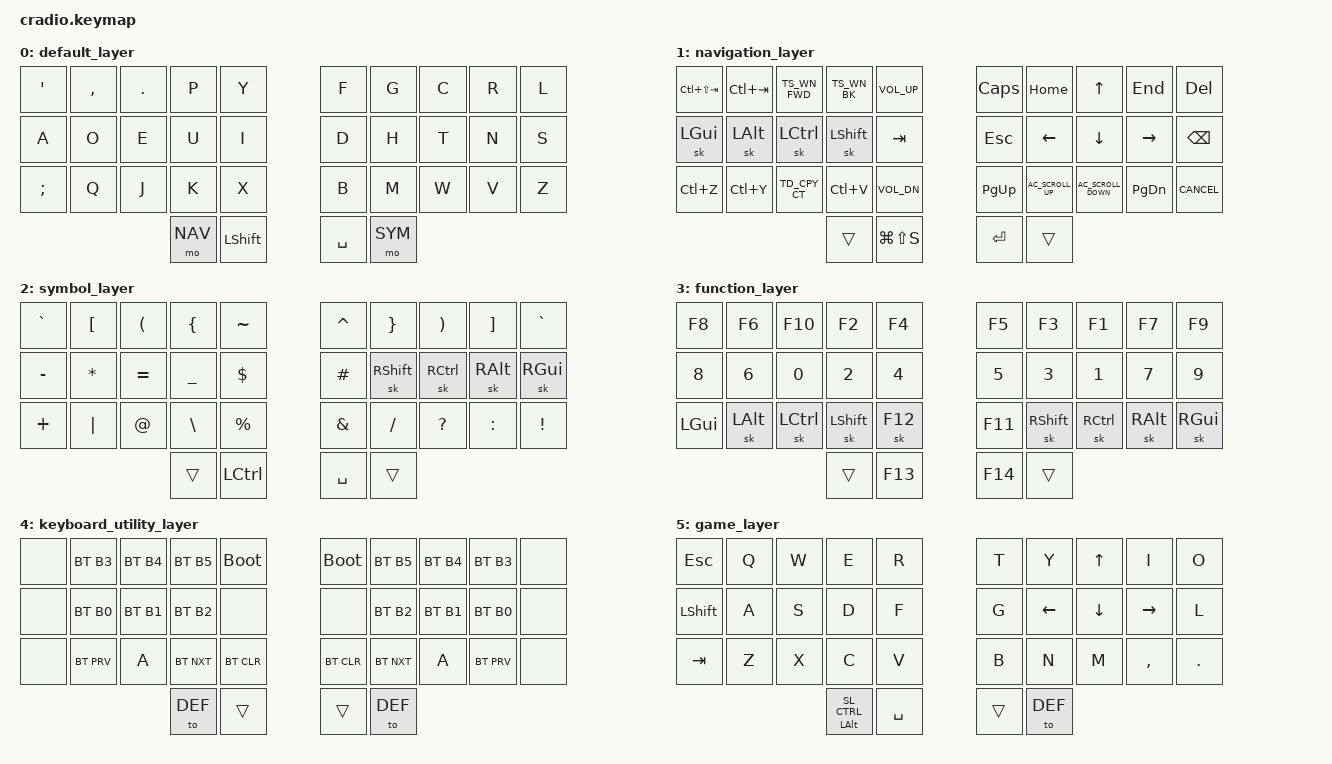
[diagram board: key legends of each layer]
#include "layers.dtsi"
#include <behaviors.dtsi>
#include <dt-bindings/zmk/keys.h>
#include <dt-bindings/zmk/bt.h>

#define VL_UP C_VOL_UP
#define VL_DN C_VOL_DN

#define WN_BK LS(TAB)

#define TAB_FWD LC(TAB)
#define TAB_BK LC(LS(TAB))

#define WN_SNIP LG(LS(S))

#define SL_UP C_AC_SCROLL_UP
#define SL_DN C_AC_SCROLL_DOWN

#define B0 BT_SEL 0
#define B1 BT_SEL 1
#define B2 BT_SEL 2
#define B3 BT_SEL 3
#define B4 BT_SEL 4
#define B5 BT_SEL 5

&sk {
    ignore-modifiers;
};

&mt {
    tapping-term-ms = <50>;
};

/ {

    behaviors {
        TD_LDR: tap_dance_bootloader {
            compatible = "zmk,behavior-tap-dance";
            label = "TAP_DANCE_BOOTLOADER";
            #binding-cells = <0>;
            bindings = <&none>, <&none>, <&bootloader>;
        };

        TD_CPY_CT: tap_dance_copy_cut {
            compatible = "zmk,behavior-tap-dance";
            label = "TAP_DANCE_COPY_CUT";
            #binding-cells = <0>;
            bindings = <&kp LC(C)>, <&kp LC(X)>;
        };

        TS_WN_FWD: tri_state_swap_window_forward {
            compatible = "zmk,behavior-tri-state";
            label = "SWAPPER";
            #binding-cells = <0>;
            bindings = <&kt LALT>, <&kp LSHFT>, <&kp TAB>, <&kt LALT>;
            ignored-key-positions = <3 13>;
        };

        TS_WN_BK: tri_state_swap_window_backward {
            compatible = "zmk,behavior-tri-state";
            label = "SWAPPER";
            #binding-cells = <0>;
            bindings = <&kt LALT>, <&kp TAB>, <&kt LALT>;
            ignored-key-positions = <2 13>;
        };

        HT_CTRL_KP: hold_tap_control_key_press {
            compatible = "zmk,behavior-hold-tap";
            label = "HOLD_TAP_CONTROL_KEY_PRESS";
            flavor = "hold-preferred";
            tapping-term-ms = <200>;
            #binding-cells = <2>;
            bindings = <&kp>, <&SL_CTRL>;
        };
    };

    conditional_layers {
        compatible = "zmk,conditional-layers";
        tri_function_layer {
            if-layers = <NAV SYM>;
            then-layer = <FNC>;
        };
    };

    combos {
        #include "combos.dtsi"
    };

    macros {
        SL_CTRL: macro_sleep_control {
            label = "Slow tap control macro";
            compatible = "zmk,behavior-macro";
            #binding-cells = <0>;
            tap-ms = <150>;
            bindings = <&kp LCTRL>;
        };
    };

    keymap {
        compatible = "zmk,keymap";

        default_layer {
        bindings = <
            &kp QUOT &kp COMMA &kp DOT &kp P &kp Y   &kp F &kp G &kp C &kp R &kp L
            &kp A    &kp O     &kp E   &kp U &kp I   &kp D &kp H &kp T &kp N &kp S
            &kp SEMI &kp Q     &kp J   &kp K &kp X   &kp B &kp M &kp W &kp V &kp Z
                                 &mo NAV &kp LSHFT   &kp SPC &mo SYM
        >;
        };

        #include "alternate_alpha_layers.dtsi"

        navigation_layer {
        bindings = <
            &kp TAB_BK &kp TAB_FWD &TS_WN_FWD &TS_WN_BK &kp VL_UP   &kp CAPS  &kp HOME  &kp UP    &kp END   &kp DEL
            &sk LGUI   &sk LALT    &sk LCTRL  &sk LSHFT &kp TAB     &kp ESC   &kp LEFT  &kp DOWN  &kp RIGHT &kp BSPC
            &kp LC(Z)  &kp LC(Y)   &TD_CPY_CT &kp LC(V) &kp VL_DN   &kp PG_UP &kp SL_UP &kp SL_DN &kp PG_DN &kp K_CANCEL
                                               &trans &kp WN_SNIP   &kp ENTER &trans
        >;
        };

        symbol_layer {
        bindings = <
            &kp GRAVE &kp LBKT &kp LPAR  &kp LBRC  &kp TILDE   &kp CARET &kp RBRC  &kp RPAR  &kp RBKT  &kp GRAVE
            &kp MINUS &kp STAR &kp EQUAL &kp UNDER &kp DLLR    &kp HASH  &sk RSHFT &sk RCTRL &sk RALT  &sk RGUI
            &kp PLUS  &kp PIPE &kp AT    &kp BSLH  &kp PRCNT   &kp AMPS  &kp FSLH  &kp QMARK &kp COLON &kp EXCL
                                             &trans &kp LCTL   &kp SPC  &trans
        >;
        };

        function_layer {
        bindings = <
            &kp F8   &kp F6   &kp F10   &kp F2    &kp F4    &kp F5  &kp F3    &kp F1    &kp F7   &kp F9
            &kp N8   &kp N6   &kp N0    &kp N2    &kp N4    &kp N5  &kp N3    &kp N1    &kp N7   &kp N9
            &kp LGUI &sk LALT &sk LCTRL &sk LSHFT &sk F12   &kp F11 &sk RSHFT &sk RCTRL &sk RALT &sk RGUI
                                           &trans &kp F13   &kp F14 &trans
        >;
        };

        keyboard_utility_layer {
        bindings = <
            &none &bt B3     &bt B4 &bt B5     &bootloader   &bootloader &bt B5     &bt B4 &bt B3     &none
            &none &bt B0     &bt B1 &bt B2     &none         &none       &bt B2     &bt B1 &bt B0     &none
            &none &bt BT_PRV &kp A  &bt BT_NXT &bt BT_CLR    &bt BT_CLR  &bt BT_NXT &kp A  &bt BT_PRV &none
                                           &to DEF &trans    &trans &to DEF
        >;
        };

        game_layer {
        bindings = <
            &kp ESC   &kp Q &kp W &kp E &kp R   &kp T &kp Y    &kp UP   &kp I     &kp O
            &kp LSHFT &kp A &kp S &kp D &kp F   &kp G &kp LEFT &kp DOWN &kp RIGHT &kp L
            &kp TAB   &kp Z &kp X &kp C &kp V   &kp B &kp N    &kp M    &kp COMMA &kp DOT
                 &HT_CTRL_KP LALT 0 &kp SPACE   &trans &to DEF
        >;
        };

    };
};
